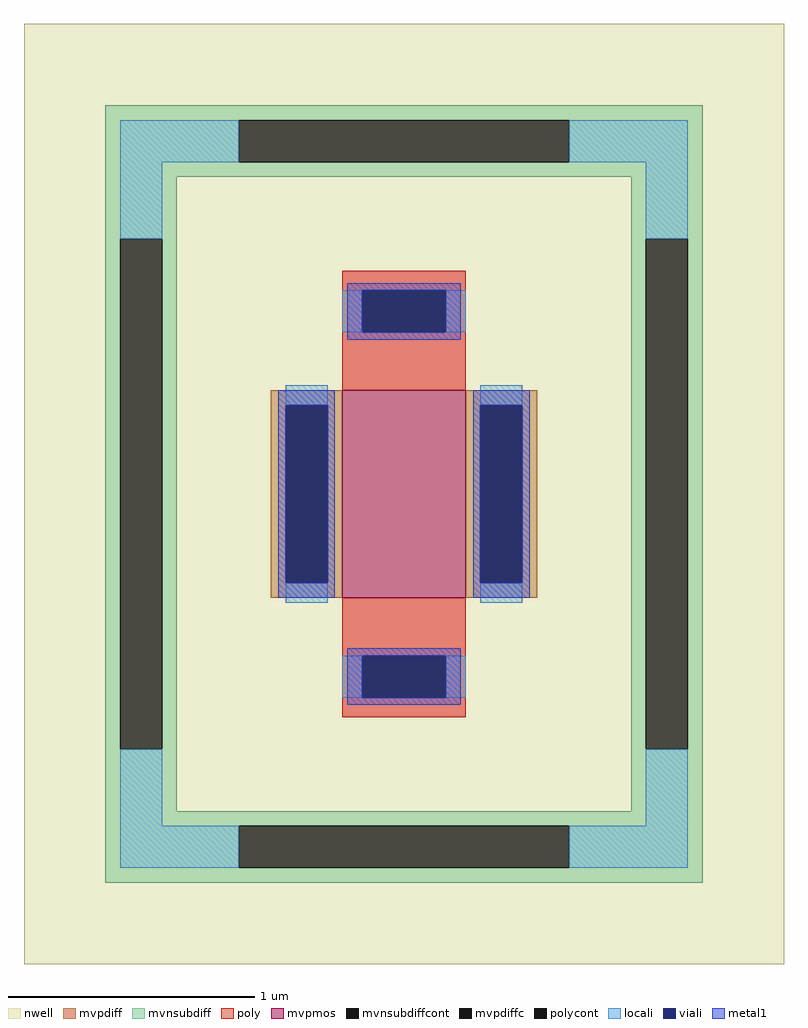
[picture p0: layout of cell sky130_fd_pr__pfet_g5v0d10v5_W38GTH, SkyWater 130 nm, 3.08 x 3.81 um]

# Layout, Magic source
magic
tech sky130A
magscale 1 2
<< nwell >>
rect -308 -381 308 381
<< mvpmos >>
rect -50 -84 50 84
<< mvpdiff >>
rect -108 72 -50 84
rect -108 -72 -96 72
rect -62 -72 -50 72
rect -108 -84 -50 -72
rect 50 72 108 84
rect 50 -72 62 72
rect 96 -72 108 72
rect 50 -84 108 -72
<< mvpdiffc >>
rect -96 -72 -62 72
rect 62 -72 96 72
<< mvnsubdiff >>
rect -242 303 242 315
rect -242 269 -134 303
rect 134 269 242 303
rect -242 257 242 269
rect -242 207 -184 257
rect -242 -207 -230 207
rect -196 -207 -184 207
rect 184 207 242 257
rect -242 -257 -184 -207
rect 184 -207 196 207
rect 230 -207 242 207
rect 184 -257 242 -207
rect -242 -269 242 -257
rect -242 -303 -134 -269
rect 134 -303 242 -269
rect -242 -315 242 -303
<< mvnsubdiffcont >>
rect -134 269 134 303
rect -230 -207 -196 207
rect 196 -207 230 207
rect -134 -303 134 -269
<< poly >>
rect -50 165 50 181
rect -50 131 -34 165
rect 34 131 50 165
rect -50 84 50 131
rect -50 -131 50 -84
rect -50 -165 -34 -131
rect 34 -165 50 -131
rect -50 -181 50 -165
<< polycont >>
rect -34 131 34 165
rect -34 -165 34 -131
<< locali >>
rect -230 269 -134 303
rect 134 269 230 303
rect -230 207 -196 269
rect 196 207 230 269
rect -50 131 -34 165
rect 34 131 50 165
rect -96 72 -62 88
rect -96 -88 -62 -72
rect 62 72 96 88
rect 62 -88 96 -72
rect -50 -165 -34 -131
rect 34 -165 50 -131
rect -230 -269 -196 -207
rect 196 -269 230 -207
rect -230 -303 -134 -269
rect 134 -303 230 -269
<< viali >>
rect -34 131 34 165
rect -96 -72 -62 72
rect 62 -72 96 72
rect -34 -165 34 -131
<< metal1 >>
rect -46 165 46 171
rect -46 131 -34 165
rect 34 131 46 165
rect -46 125 46 131
rect -102 72 -56 84
rect -102 -72 -96 72
rect -62 -72 -56 72
rect -102 -84 -56 -72
rect 56 72 102 84
rect 56 -72 62 72
rect 96 -72 102 72
rect 56 -84 102 -72
rect -46 -131 46 -125
rect -46 -165 -34 -131
rect 34 -165 46 -131
rect -46 -171 46 -165
<< properties >>
string FIXED_BBOX -213 -286 213 286
string gencell sky130_fd_pr__pfet_g5v0d10v5
string library sky130
string parameters w 0.84 l 0.5 m 1 nf 1 diffcov 100 polycov 100 guard 1 glc 1 grc 1 gtc 1 gbc 1 tbcov 100 rlcov 100 topc 1 botc 1 poverlap 0 doverlap 1 lmin 0.50 wmin 0.42 compatible {sky130_fd_pr__pfet_01v8  sky130_fd_pr__pfet_01v8_lvt sky130_fd_pr__pfet_01v8_hvt  sky130_fd_pr__pfet_g5v0d10v5} full_metal 1 viasrc 100 viadrn 100 viagate 100 viagb 0 viagr 0 viagl 0 viagt 0
<< end >>
